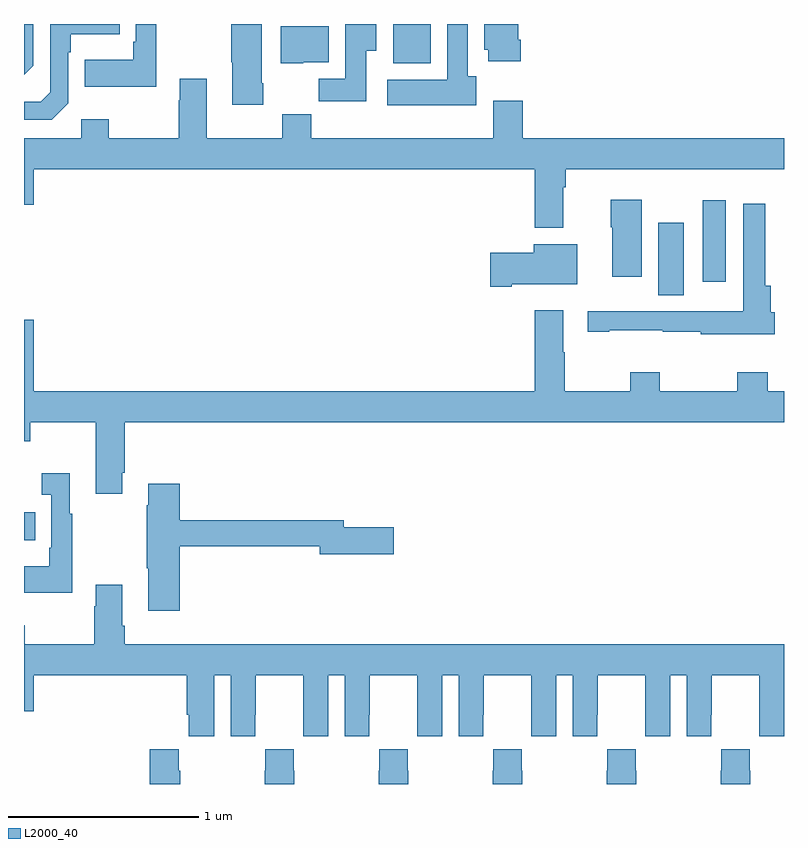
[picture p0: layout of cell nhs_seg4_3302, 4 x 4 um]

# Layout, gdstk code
import gdstk
lib = gdstk.Library(unit=1e-6, precision=1e-09)
def R(c, l, rs):  # rectangles x0, y0, x1, y1
    for r in rs: c.add(gdstk.rectangle(r[:2], r[2:], *l))
def P(c, l, *ps):  # polygons
    for p in ps: c.add(gdstk.Polygon(p, *l))
L2000_40 = (2000, 40)

nhs_seg4_3302 = lib.new_cell('nhs_seg4_3302')
R(nhs_seg4_3302, L2000_40, [(285,812.183,285.059,812.331), (288.338,813.472,288.472,813.853), (288.572,813.543,288.694,813.973), (286.943,814.694,287.14,814.9)])
P(nhs_seg4_3302, L2000_40, [(285.697,814.9),(285.588,814.9),(285.588,814.807),(285.576,814.807),(285.576,814.711),(285.319,814.711),(285.319,814.571),(285.697,814.571)],
  [(287.615,814.816),(287.602,814.816),(287.602,814.9),(287.423,814.9),(287.423,814.764),(287.444,814.764),(287.444,814.704),(287.615,814.704)],
  [(285.048,814.68),(285.048,814.9),(285,814.9),(285,814.632)],
  [(286.801,814.76),(286.855,814.76),(286.855,814.9),(286.691,814.9),(286.691,814.612),(286.552,814.612),(286.552,814.494),(286.801,814.494)],
  [(285.234,814.482),(285.234,814.751),(285.247,814.751),(285.247,814.847),(285.503,814.847),(285.503,814.9),(285.138,814.9),(285.138,814.542),(285.087,814.491),(285,814.491),(285,814.395),(285.147,814.395)],
  [(286.26,814.588),(286.252,814.588),(286.252,814.9),(286.09,814.9),(286.09,814.699),(286.097,814.699),(286.097,814.476),(286.26,814.476)],
  [(287.38,814.626),(287.335,814.626),(287.335,814.9),(287.228,814.9),(287.228,814.606),(286.911,814.606),(286.911,814.472),(287.38,814.472)],
  [(286.47,814.7),(286.603,814.7),(286.603,814.888),(286.352,814.888),(286.352,814.694),(286.47,814.694)],
  [(287.839,814.04),(287.852,814.04),(287.852,814.136),(289,814.136),(289,814.3),(287.624,814.3),(287.624,814.495),(287.471,814.495),(287.471,814.3),(286.511,814.3),(286.511,814.424),(286.36,814.424),(286.36,814.3),(285.961,814.3),(285.961,814.612),(285.821,814.612),(285.821,814.499),(285.814,814.499),(285.814,814.3),(285.447,814.3),(285.447,814.399),(285.3,814.399),(285.3,814.3),(285,814.3),(285,813.948),(285.052,813.948),(285.052,814.136),(287.687,814.136),(287.687,813.827),(287.839,813.827)],
  [(288.25,813.976),(288.089,813.976),(288.089,813.831),(288.095,813.831),(288.095,813.57),(288.25,813.57)],
  [(288.95,813.384),(288.929,813.384),(288.929,813.523),(288.902,813.523),(288.902,813.955),(288.786,813.955),(288.786,813.388),(288.561,813.388),(288.561,813.387),(288.242,813.387),(288.242,813.389),(287.967,813.389),(287.967,813.279),(288.079,813.279),(288.079,813.289),(288.361,813.289),(288.361,813.279),(288.561,813.279),(288.561,813.266),(288.95,813.266)],
  [(287.566,813.53),(287.911,813.53),(287.911,813.742),(287.684,813.742),(287.684,813.696),(287.454,813.696),(287.454,813.518),(287.566,813.518)],
  [(285.517,812.539),(285.53,812.539),(285.53,812.804),(289,812.804),(289,812.968),(288.914,812.968),(288.914,813.067),(288.754,813.067),(288.754,812.968),(288.345,812.968),(288.345,813.067),(288.19,813.067),(288.19,812.968),(287.847,812.968),(287.847,813.173),(287.839,813.173),(287.839,813.394),(287.687,813.394),(287.687,812.968),(285.052,812.968),(285.052,813.343),(285,813.343),(285,812.705),(285.033,812.705),(285.033,812.804),(285.377,812.804),(285.377,812.427),(285.517,812.427)],
  [(285.253,812.323),(285.241,812.323),(285.241,812.536),(285.093,812.536),(285.093,812.423),(285.144,812.423),(285.144,812.143),(285.132,812.143),(285.132,812.047),(285,812.047),(285,811.907),(285.253,811.907)],
  [(285.821,812.152),(286.556,812.152),(286.556,812.11),(286.945,812.11),(286.945,812.252),(286.684,812.252),(286.684,812.288),(285.821,812.288),(285.821,812.479),(285.653,812.479),(285.653,812.366),(285.646,812.366),(285.646,812.035),(285.653,812.035),(285.653,811.812),(285.821,811.812)],
  [(286,811.472),(286.088,811.472),(286.088,811.152),(286.218,811.152),(286.218,811.264),(286.219,811.264),(286.219,811.472),(286.469,811.472),(286.469,811.264),(286.47,811.264),(286.47,811.152),(286.6,811.152),(286.6,811.472),(286.688,811.472),(286.688,811.152),(286.818,811.152),(286.818,811.264),(286.819,811.264),(286.819,811.472),(287.069,811.472),(287.069,811.264),(287.07,811.264),(287.07,811.152),(287.2,811.152),(287.2,811.472),(287.288,811.472),(287.288,811.152),(287.418,811.152),(287.418,811.264),(287.419,811.264),(287.419,811.472),(287.669,811.472),(287.669,811.264),(287.67,811.264),(287.67,811.152),(287.8,811.152),(287.8,811.472),(287.888,811.472),(287.888,811.152),(288.018,811.152),(288.018,811.264),(288.019,811.264),(288.019,811.472),(288.269,811.472),(288.269,811.264),(288.27,811.264),(288.27,811.152),(288.4,811.152),(288.4,811.472),(288.488,811.472),(288.488,811.152),(288.618,811.152),(288.618,811.264),(288.619,811.264),(288.619,811.472),(288.869,811.472),(288.869,811.264),(288.87,811.264),(288.87,811.152),(289,811.152),(289,811.636),(285.53,811.636),(285.53,811.732),(285.517,811.732),(285.517,811.948),(285.377,811.948),(285.377,811.835),(285.37,811.835),(285.37,811.636),(285.003,811.636),(285.003,811.735),(285,811.735),(285,811.284),(285.052,811.284),(285.052,811.472),(285.857,811.472),(285.857,811.264),(285.866,811.264),(285.866,811.152),(286,811.152)],
  [(285.822,810.971),(285.815,810.971),(285.815,811.084),(285.662,811.084),(285.662,810.9),(285.822,810.9)],
  [(286.422,810.971),(286.419,810.971),(286.419,811.084),(286.269,811.084),(286.269,810.971),(286.267,810.971),(286.267,810.9),(286.422,810.9)],
  [(287.022,810.971),(287.019,810.971),(287.019,811.084),(286.869,811.084),(286.869,810.971),(286.867,810.971),(286.867,810.9),(287.022,810.9)],
  [(287.622,810.971),(287.619,810.971),(287.619,811.084),(287.469,811.084),(287.469,810.971),(287.467,810.971),(287.467,810.9),(287.622,810.9)],
  [(288.222,810.971),(288.219,810.971),(288.219,811.084),(288.069,811.084),(288.069,810.971),(288.067,810.971),(288.067,810.9),(288.222,810.9)],
  [(288.822,810.971),(288.819,810.971),(288.819,811.084),(288.669,811.084),(288.669,810.971),(288.667,810.971),(288.667,810.9),(288.822,810.9)])

lib.write_gds('nhs_seg4_3302.gds')
